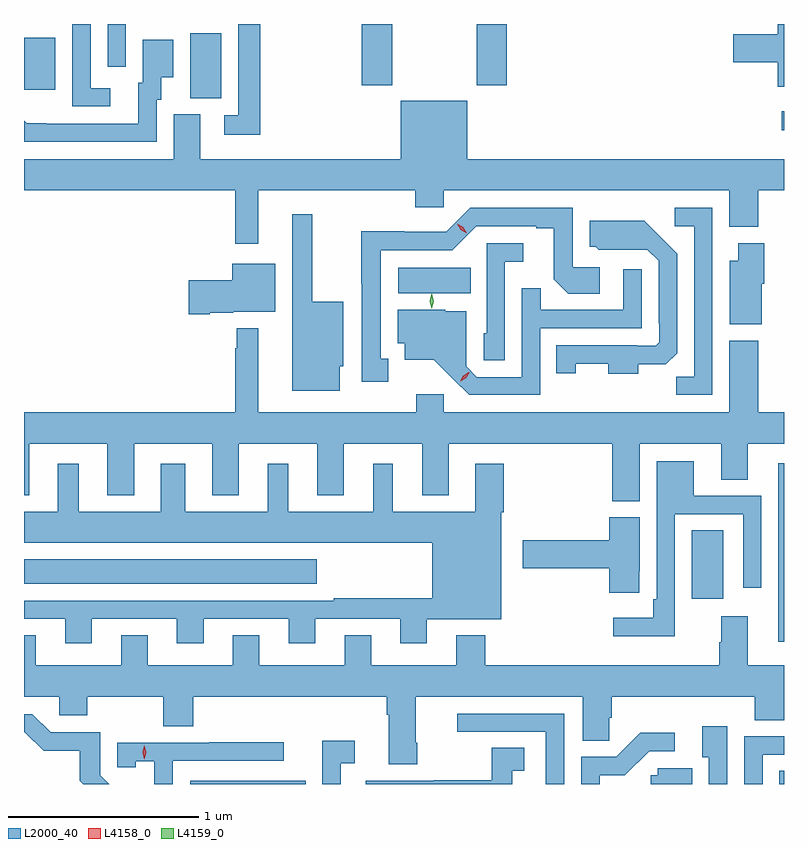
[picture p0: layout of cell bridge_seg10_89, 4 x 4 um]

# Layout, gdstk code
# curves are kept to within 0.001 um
import gdstk
lib = gdstk.Library(unit=1e-6, precision=1e-09)
def R(c, l, rs):  # rectangles x0, y0, x1, y1
    for r in rs: c.add(gdstk.rectangle(r[:2], r[2:], *l))
def P(c, l, *ps):  # polygons
    for p in ps: c.add(gdstk.Polygon(p, *l))
L2000_40 = (2000, 40)
L4158_0 = (4158, 0)
L4159_0 = (4159, 0)

bridge_seg10_89 = lib.new_cell('bridge_seg10_89')
R(bridge_seg10_89, L2000_40, [(623.571,1293.196,624.178,1293.213), (626.672,1293.196,626.696,1293.266), (626.666,1293.945,626.696,1294.885), (626.21,1294.17,626.377,1294.532), (622.696,1294.25,624.238,1294.378), (624.666,1295.78,625.046,1295.914), (626.685,1296.638,626.696,1296.736), (623.57,1296.805,623.734,1297.148), (622.696,1296.849,622.861,1297.123), (624.473,1296.873,624.633,1297.196), (625.078,1296.873,625.238,1297.196), (623.136,1296.972,623.232,1297.196)])
P(bridge_seg10_89, L2000_40, [(623.149,1296.858),(623.046,1296.858),(623.046,1297.196),(622.95,1297.196),(622.95,1296.762),(623.149,1296.762)],
  [(626.696,1297.196),(626.663,1297.196),(626.663,1297.142),(626.43,1297.142),(626.43,1296.995),(626.663,1296.995),(626.663,1296.867),(626.696,1296.867)],
  [(623.939,1297.196),(623.823,1297.196),(623.823,1296.717),(623.751,1296.717),(623.751,1296.612),(623.939,1296.612)],
  [(623.394,1296.798),(623.419,1296.798),(623.419,1296.917),(623.482,1296.917),(623.482,1297.114),(623.321,1297.114),(623.321,1296.888),(623.297,1296.888),(623.297,1296.672),(622.71,1296.673),(622.696,1296.687),(622.696,1296.576),(623.394,1296.576)],
  [(623.929,1296.32),(624.755,1296.32),(624.755,1296.232),(624.906,1296.232),(624.906,1296.32),(626.408,1296.32),(626.408,1296.128),(626.561,1296.128),(626.561,1296.32),(626.696,1296.32),(626.696,1296.484),(625.03,1296.484),(625.03,1296.793),(624.68,1296.793),(624.68,1296.484),(623.623,1296.484),(623.623,1296.72),(623.483,1296.72),(623.483,1296.484),(622.696,1296.484),(622.696,1296.32),(623.808,1296.32),(623.808,1296.039),(623.929,1296.039)],
  [(626.319,1296.228),(626.121,1296.228),(626.121,1296.132),(626.223,1296.132),(626.223,1295.339),(626.128,1295.339),(626.128,1295.244),(626.319,1295.244)],
  [(624.613,1295.433),(624.574,1295.433),(624.574,1296.006),(624.951,1296.006),(625.077,1296.132),(625.391,1296.132),(625.391,1296.12),(625.485,1296.12),(625.485,1295.852),(625.561,1295.776),(625.726,1295.776),(625.726,1295.916),(625.584,1295.916),(625.584,1296.228),(625.044,1296.228),(624.918,1296.102),(624.696,1296.102),(624.696,1296.104),(624.471,1296.104),(624.471,1295.83),(624.473,1295.83),(624.473,1295.313),(624.613,1295.313)],
  [(624.358,1295.394),(624.376,1295.394),(624.376,1295.734),(624.214,1295.734),(624.214,1296.196),(624.107,1296.196),(624.107,1295.267),(624.358,1295.267)],
  [(625.93,1295.405),(626.074,1295.405),(626.133,1295.464),(626.133,1295.986),(625.961,1296.16),(625.673,1296.16),(625.673,1296.024),(625.704,1296.024),(625.72,1296.008),(625.977,1296.009),(626.037,1295.949),(626.037,1295.62),(626.04,1295.62),(626.04,1295.52),(626.022,1295.502),(625.922,1295.502),(625.922,1295.505),(625.498,1295.505),(625.498,1295.358),(625.599,1295.358),(625.599,1295.407),(625.772,1295.407),(625.772,1295.354),(625.93,1295.354)],
  [(626.578,1295.829),(626.591,1295.829),(626.591,1296.043),(626.456,1296.043),(626.456,1295.95),(626.411,1295.95),(626.411,1295.615),(626.578,1295.615)],
  [(625.227,1295.945),(625.324,1295.945),(625.324,1296.042),(625.131,1296.042),(625.131,1295.568),(625.116,1295.568),(625.116,1295.425),(625.227,1295.425)],
  [(623.674,1295.675),(623.796,1295.675),(623.796,1295.681),(624.019,1295.681),(624.019,1295.935),(623.792,1295.935),(623.792,1295.847),(623.562,1295.847),(623.562,1295.669),(623.674,1295.669)],
  [(625.413,1295.595),(625.947,1295.595),(625.947,1295.905),(625.851,1295.905),(625.851,1295.691),(625.415,1295.691),(625.415,1295.804),(625.317,1295.804),(625.317,1295.337),(625.08,1295.337),(625.023,1295.394),(625.023,1295.683),(624.912,1295.683),(624.912,1295.692),(624.662,1295.692),(624.662,1295.516),(624.701,1295.516),(624.701,1295.429),(624.853,1295.429),(625.04,1295.244),(625.413,1295.244)],
  [(625.936,1294.988),(626.366,1294.988),(626.366,1294.798),(626.506,1294.798),(626.506,1294.988),(626.696,1294.988),(626.696,1295.152),(626.561,1295.152),(626.561,1295.53),(626.408,1295.53),(626.408,1295.152),(624.906,1295.152),(624.906,1295.248),(624.76,1295.248),(624.76,1295.152),(623.929,1295.152),(623.929,1295.596),(623.815,1295.596),(623.815,1295.489),(623.808,1295.489),(623.808,1295.152),(622.696,1295.152),(622.696,1294.715),(622.723,1294.715),(622.723,1294.988),(623.135,1294.988),(623.135,1294.715),(623.275,1294.715),(623.275,1294.988),(623.687,1294.988),(623.687,1294.715),(623.827,1294.715),(623.827,1294.988),(624.239,1294.988),(624.239,1294.715),(624.379,1294.715),(624.379,1294.988),(624.791,1294.988),(624.791,1294.715),(624.931,1294.715),(624.931,1294.988),(625.793,1294.988),(625.793,1294.684),(625.936,1294.684)],
  [(626.121,1294.617),(626.481,1294.617),(626.481,1294.23),(626.577,1294.23),(626.577,1294.713),(626.221,1294.713),(626.221,1294.894),(626.025,1294.894),(626.025,1294.168),(626.009,1294.168),(626.009,1294.072),(625.797,1294.072),(625.797,1293.974),(626.121,1293.974)],
  [(623.053,1294.065),(623.501,1294.065),(623.501,1293.936),(623.641,1293.936),(623.641,1294.065),(624.089,1294.065),(624.089,1293.936),(624.229,1293.936),(624.229,1294.065),(624.677,1294.065),(624.677,1293.936),(624.817,1293.936),(624.817,1294.064),(625.207,1294.064),(625.207,1294.626),(625.22,1294.626),(625.22,1294.882),(625.07,1294.882),(625.07,1294.63),(624.637,1294.63),(624.637,1294.882),(624.533,1294.882),(624.533,1294.63),(624.088,1294.63),(624.088,1294.882),(623.978,1294.882),(623.978,1294.63),(623.545,1294.63),(623.545,1294.882),(623.417,1294.882),(623.417,1294.63),(622.984,1294.63),(622.984,1294.882),(622.874,1294.882),(622.874,1294.63),(622.696,1294.63),(622.696,1294.466),(624.845,1294.466),(624.845,1294.174),(624.325,1294.174),(624.325,1294.161),(622.696,1294.161),(622.696,1294.065),(622.913,1294.065),(622.913,1293.936),(623.053,1293.936)],
  [(625.935,1294.315),(625.936,1294.315),(625.936,1294.599),(625.775,1294.599),(625.775,1294.478),(625.32,1294.478),(625.32,1294.331),(625.775,1294.331),(625.775,1294.203),(625.935,1294.203)],
  [(624.765,1293.412),(624.757,1293.412),(624.757,1293.656),(625.637,1293.656),(625.637,1293.424),(625.775,1293.424),(625.775,1293.546),(625.79,1293.546),(625.79,1293.656),(626.543,1293.656),(626.543,1293.532),(626.696,1293.532),(626.696,1293.82),(626.506,1293.82),(626.506,1294.078),(626.366,1294.078),(626.366,1293.941),(626.354,1293.941),(626.354,1293.82),(625.124,1293.82),(625.124,1293.979),(624.971,1293.979),(624.971,1293.82),(624.523,1293.82),(624.523,1293.98),(624.383,1293.98),(624.383,1293.82),(623.935,1293.82),(623.935,1293.98),(623.795,1293.98),(623.795,1293.82),(623.347,1293.82),(623.347,1293.98),(623.207,1293.98),(623.207,1293.82),(622.759,1293.82),(622.759,1293.98),(622.696,1293.98),(622.696,1293.656),(622.881,1293.656),(622.881,1293.558),(623.028,1293.558),(623.028,1293.656),(623.428,1293.656),(623.428,1293.499),(623.588,1293.499),(623.588,1293.656),(624.605,1293.656),(624.605,1293.56),(624.617,1293.56),(624.617,1293.3),(624.765,1293.3)],
  [(625.539,1293.567),(624.975,1293.567),(624.975,1293.471),(625.442,1293.471),(625.442,1293.196),(625.539,1293.196)],
  [(623.097,1293.243),(623.097,1293.468),(622.836,1293.468),(622.74,1293.564),(622.696,1293.564),(622.696,1293.468),(622.701,1293.468),(622.8,1293.37),(622.989,1293.37),(622.989,1293.214),(623.007,1293.196),(623.144,1293.196)],
  [(626.397,1293.499),(626.267,1293.499),(626.267,1293.338),(626.301,1293.338),(626.301,1293.196),(626.397,1293.196)],
  [(625.726,1293.242),(625.859,1293.242),(625.986,1293.369),(626.122,1293.369),(626.122,1293.467),(625.94,1293.467),(625.812,1293.339),(625.629,1293.339),(625.629,1293.196),(625.726,1293.196)],
  [(626.583,1293.351),(626.696,1293.351),(626.696,1293.447),(626.487,1293.447),(626.487,1293.196),(626.583,1293.196)],
  [(624.364,1293.304),(624.436,1293.304),(624.436,1293.424),(624.267,1293.424),(624.267,1293.196),(624.364,1293.196)],
  [(623.478,1293.318),(624.064,1293.318),(624.064,1293.417),(623.671,1293.417),(623.671,1293.414),(623.187,1293.414),(623.187,1293.285),(623.283,1293.285),(623.283,1293.317),(623.382,1293.317),(623.382,1293.196),(623.478,1293.196)],
  [(625.266,1293.265),(625.33,1293.265),(625.33,1293.386),(625.158,1293.386),(625.158,1293.216),(624.853,1293.216),(624.853,1293.213),(624.495,1293.213),(624.495,1293.196),(625.266,1293.196)],
  [(626.212,1293.279),(626.031,1293.279),(626.031,1293.243),(625.995,1293.243),(625.995,1293.196),(626.212,1293.196)])
P(bridge_seg10_89, L4158_0, [(624.991,1295.316),(624.991,1295.316),(625.008,1295.346),(625.038,1295.362),(625.039,1295.362),(625.039,1295.361),(625.022,1295.332),(624.992,1295.316)],
  [(625.026,1296.094),(624.994,1296.113),(624.976,1296.145),(624.976,1296.146),(624.976,1296.146),(625.008,1296.127),(625.026,1296.094),(625.026,1296.094)],
  [(623.33,1293.327),(623.33,1293.327),(623.32,1293.363),(623.33,1293.398),(623.33,1293.399),(623.33,1293.398),(623.34,1293.363),(623.33,1293.327)])
P(bridge_seg10_89, L4159_0, [(624.842,1295.698),(624.842,1295.699),(624.832,1295.738),(624.842,1295.777),(624.842,1295.777),(624.842,1295.777),(624.852,1295.738),(624.842,1295.699)])

lib.write_gds('bridge_seg10_89.gds')
